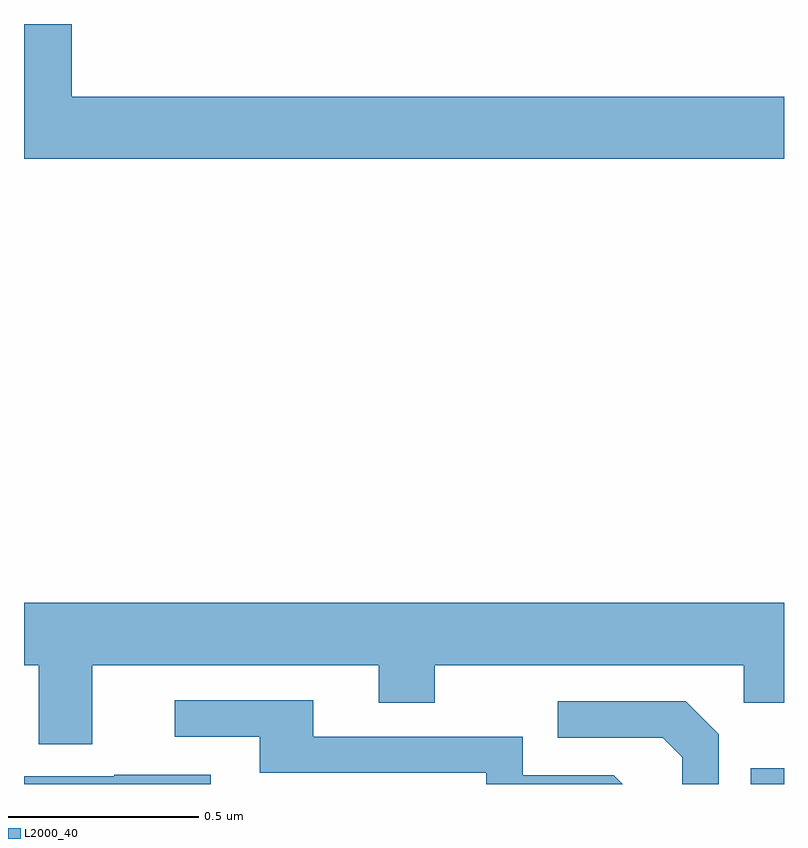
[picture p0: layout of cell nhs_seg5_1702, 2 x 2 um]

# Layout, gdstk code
import gdstk
lib = gdstk.Library(unit=1e-6, precision=1e-09)
def R(c, l, rs):  # rectangles x0, y0, x1, y1
    for r in rs: c.add(gdstk.rectangle(r[:2], r[2:], *l))
def P(c, l, *ps):  # polygons
    for p in ps: c.add(gdstk.Polygon(p, *l))
L2000_40 = (2000, 40)

nhs_seg5_1702 = lib.new_cell('nhs_seg5_1702')
R(nhs_seg5_1702, L2000_40, [(135.913,837.799,136,837.841)])
P(nhs_seg5_1702, L2000_40, [(136,839.608),(134.126,839.608),(134.126,839.799),(134,839.799),(134,839.444),(136,839.444)],
  [(134.179,838.112),(134.933,838.112),(134.933,838.013),(135.081,838.013),(135.081,838.112),(135.894,838.112),(135.894,838.013),(136,838.013),(136,838.276),(134,838.276),(134,838.112),(134.039,838.112),(134.039,837.904),(134.179,837.904)],
  [(135.552,837.822),(135.312,837.822),(135.312,837.924),(134.761,837.924),(134.761,838.02),(134.397,838.02),(134.397,837.924),(134.621,837.924),(134.621,837.828),(135.216,837.828),(135.216,837.799),(135.575,837.799)],
  [(135.828,837.93),(135.741,838.017),(135.405,838.017),(135.405,837.921),(135.681,837.921),(135.732,837.87),(135.732,837.799),(135.828,837.799)],
  [(134.491,837.823),(134.237,837.823),(134.237,837.819),(134,837.819),(134,837.799),(134.491,837.799)])

lib.write_gds('nhs_seg5_1702.gds')
